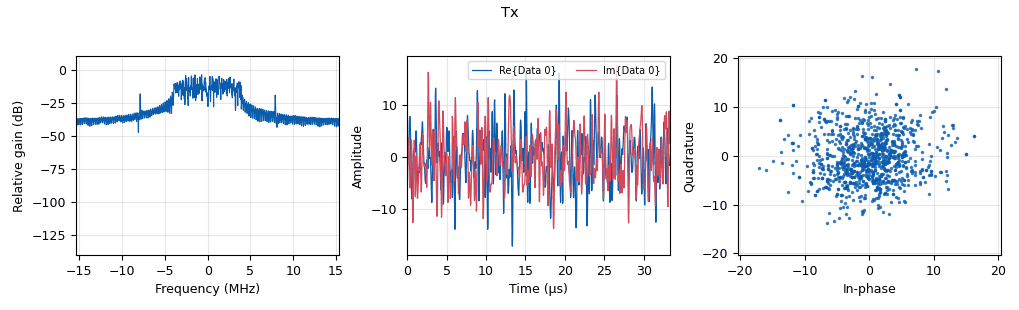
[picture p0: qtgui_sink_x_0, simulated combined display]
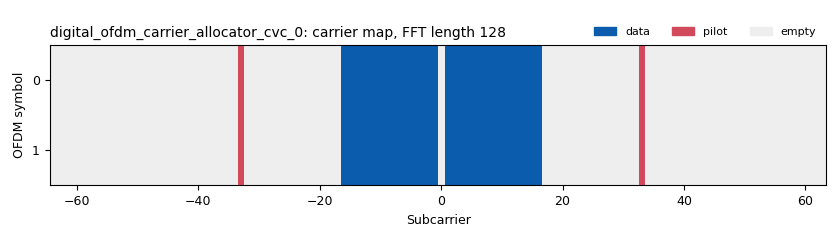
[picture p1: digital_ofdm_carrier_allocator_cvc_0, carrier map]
options:
  parameters:
    author: Jay
    description: PlutoOFDM
    generate_options: qt_gui
    id: PlutoOFDM
    output_language: python
    title: PlutoOFDM
  states: {}

blocks:
- name: cp_len
  id: variable
  parameters:
    value: '16'
  states: {}
- name: fft_len
  id: variable
  parameters:
    value: '128'
  states: {}
- name: ncarrier
  id: variable
  parameters:
    value: '32'
  states: {}
- name: samp_rate
  id: variable
  parameters:
    value: '30720000'
  states: {}
- name: blocks_repack_bits_bb_0
  id: blocks_repack_bits_bb
  parameters:
    endianness: gr.GR_LSB_FIRST
    k: '1'
    l: '2'
  states: {}
- name: blocks_stream_to_tagged_stream_0
  id: blocks_stream_to_tagged_stream
  parameters:
    len_tag_key: '"packet_len"'
    packet_len: ncarrier
    type: complex
  states: {}
- name: digital_chunks_to_symbols_xx_0
  id: digital_chunks_to_symbols_xx
  parameters:
    dimension: '1'
    in_type: byte
    out_type: complex
    symbol_table: '[-1-1j,-1+1j,1-1j,1+1j]'
  states: {}
- name: digital_glfsr_source_x_0
  id: digital_glfsr_source_x
  parameters:
    degree: '16'
    mask: '0'
    repeat: 'True'
    seed: '1'
    type: byte
  states: {}
- name: digital_ofdm_carrier_allocator_cvc_0
  id: digital_ofdm_carrier_allocator_cvc
  parameters:
    fft_len: fft_len
    len_tag_key: '"packet_len"'
    occupied_carriers: '[list(range(-16,0)) + list(range(1, 17))]'
    output_is_shifted: 'True'
    pilot_carriers: '[[-(ncarrier+1),(ncarrier+1)]]'
    pilot_symbols: '[[1,1]] '
    sync_words: ()
  states: {}
- name: digital_ofdm_cyclic_prefixer_0
  id: digital_ofdm_cyclic_prefixer
  parameters:
    cp_len: int(fft_len/8)
    input_size: fft_len
    tagname: '"packet_len"'
  states: {}
- name: fft_vxx_0
  id: fft_vxx
  parameters:
    fft_size: '128'
    forward: 'False'
    shift: 'True'
    type: complex
    window: window.blackmanharris(128)
  states: {}
- name: iio_pluto_sink_0
  id: iio_pluto_sink
  parameters:
    attenuation1: '10.0'
    auto_filter: 'True'
    bandwidth: '20000000'
    buffer_size: '32768'
    cyclic: 'False'
    frequency: '2400000000'
    samplerate: samp_rate
    uri: uri
  states: {state: disabled}
- name: import_0
  id: import
  parameters:
    imports: import numpy as np
  states: {}
- name: qtgui_sink_x_0
  id: qtgui_sink_x
  parameters:
    bw: samp_rate
    fc: '0'
    fftsize: '1024'
    name: Tx
    showrf: 'True'
    type: complex
    wintype: firdes.WIN_HAMMING
  states: {}
- name: uri
  id: parameter
  parameters:
    label: URI
    type: str
    value: ip:192.168.2.1
  states: {}

connections:
- [blocks_repack_bits_bb_0, '0', digital_chunks_to_symbols_xx_0, '0']
- [blocks_stream_to_tagged_stream_0, '0', digital_ofdm_carrier_allocator_cvc_0, '0']
- [digital_chunks_to_symbols_xx_0, '0', blocks_stream_to_tagged_stream_0, '0']
- [digital_glfsr_source_x_0, '0', blocks_repack_bits_bb_0, '0']
- [digital_ofdm_carrier_allocator_cvc_0, '0', fft_vxx_0, '0']
- [digital_ofdm_cyclic_prefixer_0, '0', iio_pluto_sink_0, '0']
- [digital_ofdm_cyclic_prefixer_0, '0', qtgui_sink_x_0, '0']
- [fft_vxx_0, '0', digital_ofdm_cyclic_prefixer_0, '0']

metadata:
  file_format: 1
